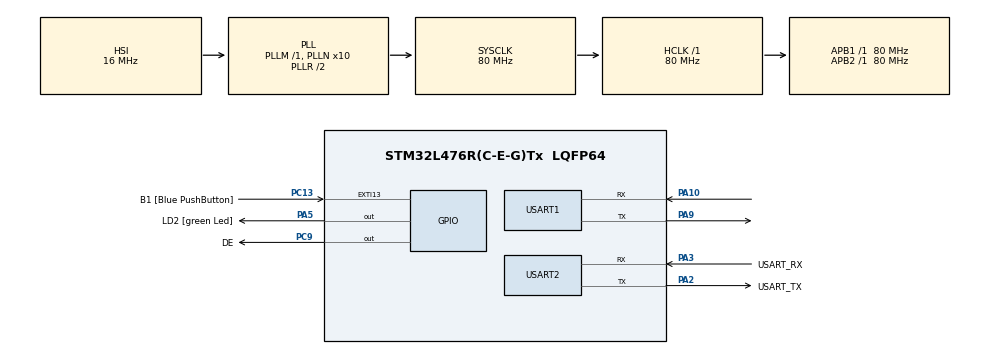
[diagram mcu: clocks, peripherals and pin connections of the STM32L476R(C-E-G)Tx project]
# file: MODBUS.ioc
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Mcu.Family=STM32L4
Mcu.Name=STM32L476R(C-E-G)Tx
Mcu.Package=LQFP64
NVIC.PriorityGroup=NVIC_PRIORITYGROUP_4
NVIC.USART1_IRQn=true\:0\:0\:false\:false\:true\:true\:true\:true
PA10.Mode=Asynchronous
PA10.Signal=USART1_RX
PA13\ (JTMS-SWDIO).GPIO_Label=TMS
PA13\ (JTMS-SWDIO).Mode=Serial_Wire
PA13\ (JTMS-SWDIO).Signal=SYS_JTMS-SWDIO
PA14\ (JTCK-SWCLK).GPIO_Label=TCK
PA14\ (JTCK-SWCLK).Mode=Serial_Wire
PA14\ (JTCK-SWCLK).Signal=SYS_JTCK-SWCLK
PA2.GPIO_Label=USART_TX
PA2.GPIO_Mode=GPIO_MODE_AF_PP
PA2.GPIO_PuPd=GPIO_NOPULL
PA2.GPIO_Speed=GPIO_SPEED_FREQ_VERY_HIGH
PA2.Mode=Asynchronous
PA2.Signal=USART2_TX
PA3.GPIO_Label=USART_RX
PA3.GPIO_Mode=GPIO_MODE_AF_PP
PA3.GPIO_PuPd=GPIO_NOPULL
PA3.GPIO_Speed=GPIO_SPEED_FREQ_VERY_HIGH
PA3.Mode=Asynchronous
PA3.Signal=USART2_RX
PA5.GPIO_Label=LD2 [green Led]
PA5.GPIO_ModeDefaultOutputPP=GPIO_MODE_OUTPUT_PP
PA5.GPIO_PuPd=GPIO_NOPULL
PA5.GPIO_Speed=GPIO_SPEED_FREQ_LOW
PA5.Signal=GPIO_Output
PA9.Mode=Asynchronous
PA9.Signal=USART1_TX
PB3\ (JTDO-TRACESWO).GPIO_Label=SWO
PB3\ (JTDO-TRACESWO).Signal=SYS_JTDO-SWO
PC13.GPIO_Label=B1 [Blue PushButton]
PC13.GPIO_ModeDefaultEXTI=GPIO_MODE_IT_FALLING
PC13.GPIO_PuPd=GPIO_NOPULL
PC13.Signal=GPXTI13
PC14-OSC32_IN\ (PC14).Mode=LSE-External-Oscillator
PC14-OSC32_IN\ (PC14).Signal=RCC_OSC32_IN
PC15-OSC32_OUT\ (PC15).Mode=LSE-External-Oscillator
PC15-OSC32_OUT\ (PC15).Signal=RCC_OSC32_OUT
PC9.GPIO_Label=DE
PC9.Signal=GPIO_Output
PH0-OSC_IN\ (PH0).Signal=RCC_OSC_IN
PH1-OSC_OUT\ (PH1).Signal=RCC_OSC_OUT
ProjectManager.HeapSize=0x200
ProjectManager.StackSize=0x400
ProjectManager.TargetToolchain=STM32CubeIDE
RCC.ADCFreq_Value=64000000
RCC.AHBFreq_Value=80000000
RCC.APB1Freq_Value=80000000
RCC.APB1TimFreq_Value=80000000
RCC.APB2Freq_Value=80000000
RCC.APB2TimFreq_Value=80000000
RCC.CortexFreq_Value=80000000
RCC.HCLKFreq_Value=80000000
RCC.HSE_VALUE=8000000
RCC.HSI_VALUE=16000000
RCC.MSI_VALUE=4000000
RCC.PLLN=10
RCC.PLLSourceVirtual=RCC_PLLSOURCE_HSI
RCC.PREFETCH_ENABLE=1
RCC.SYSCLKFreq_VALUE=80000000
RCC.SYSCLKSource=RCC_SYSCLKSOURCE_PLLCLK
RCC.USBFreq_Value=64000000
RCC.VCOOutputFreq_Value=160000000
USART1.VirtualMode-Asynchronous=VM_ASYNC
USART2.VirtualMode-Asynchronous=VM_ASYNC
board=NUCLEO-L476RG

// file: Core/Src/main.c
/* USER CODE BEGIN Header */
/**
  ******************************************************************************
  * @file           : main.c
  * @brief          : Main program body
  ******************************************************************************
  * @attention
  *
  * Copyright (c) 2024 STMicroelectronics.
  * All rights reserved.
  *
  * This software is licensed under terms that can be found in the LICENSE file
  * in the root directory of this software component.
  * If no LICENSE file comes with this software, it is provided AS-IS.
  *
  ******************************************************************************
  */
/* USER CODE END Header */
#include "main.h"
#include "usart.h"
#include "gpio.h"

/* USER CODE BEGIN Includes */
/* ************************************************************************************ */
/* * Includes                                                                         * */
/* ************************************************************************************ */
/* CeNTI library. */
#include "../../Project/CeNTI_Library/lib/CeNTI_lib_includes.h"
#include "../../Project/CeNTI_Library/HAL/CeNTI_HAL_includes.h"

/* Project defines. */
#include "../../Project/Defines/Project_defines.h"

/* Manager library. */
#include "../../Project/Manager/Manager.h"

#if (!defined(__MAIN_DEBUG__))
    #include "../../Project/CeNTI_Library/lib/Debug/CeNTI_Debug_None.h"
#endif

/* ************************************************************************************ */
/* * Safety check                                                                     * */
/* ************************************************************************************ */
#if ((!(defined(CENTI_ENABLE))) || \
     (!(defined(CENTI_DISABLE))))

    #error CENTI_ENABLE and/or CENTI_DISABLE not defined! Define the in Project/CeNTI/Defines/CeNTI_defines.h file!

#endif

/* USER CODE END Includes */

/* USER CODE BEGIN PTD */
/* ************************************************************************************ */
/* * Flags                                                                            * */
/* ************************************************************************************ */
/* Used for software reset. */
volatile t_FLAG f_soft_reset = FLAG_OFF;

/* ************************************************************************************ */
/* * Enumerations                                                                     * */
/* ************************************************************************************ */
/* Main states. */
typedef enum _enum_MAIN_states {
    MAIN_STATE_INIT_ERROR = 0   ,
    MAIN_STATE_INIT             ,
    MAIN_STATE_LOOP_ERROR       ,
    MAIN_STATE_LOOP             ,
    /* Add more states. */
    /* ... */
}et_MAIN_STATE;
/* USER CODE END PTD */

/* USER CODE BEGIN PD */
#ifdef __GNUC__
#define PUTCHAR_PROTOTYPE int __io_putchar(int ch)
#else
#define PUTCHAR_PROTOTYPE int fputc(int ch, FILE *f)
#endif
/* USER CODE END PD */

/* USER CODE BEGIN PV */
/* ************************************************************************************ */
/* * Global Variables                                                                 * */
/* ************************************************************************************ */
/* Main state. */
static et_MAIN_STATE g_et_state = MAIN_STATE_INIT;

/* USER CODE END PV */

void SystemClock_Config(void);
/* USER CODE BEGIN PFP */
/* ************************************************************************************ */
/* * Main Functions Prototypes                                                        * */
/* ************************************************************************************ */
/*
 * @brief Initialize all the necessary peripheral and CeNTI devices.
 *
 * @param None.
 *
 * @return Indication if everything worked fine.
 * @retval RET_OK  - Everything worked fine.
 * @retval Other   - See et_RET.
 */
static et_RET Main__Initialize(void);

/*
 * @brief Function used to manage the loop flow.
 *
 * @param None.
 *
 * @return Indication if everything worked fine.
 * @retval RET_OK  - Everything worked fine.
 * @retval Other   - See et_RET.
 */
static et_RET Main__Loop(void);

/*
 * @brief Function used to check all the SoftTimers and enable its flag if its SoftTimer
 *          has elapsed.
 *
 * @param None.
 *
 * @return Indication if everything worked fine.
 * @retval RET_OK  - Everything worked fine.
 * @retval Other   - See et_RET.
 */
#if (defined(__CENTI_SOFTTIMER_IN_USE__))
    static void Main__CheckSoftTimers(void);
#endif

/* ************************************************************************************ */
/* * Private Functions Prototypes                                                     * */
/* ************************************************************************************ */
/*
 * @brief Function used to call the system device initialization function based on
 *          defines made on CeNTI/Defines/CeNTI.h file.
 *
 * @param None.
 *
 * @return Indication if everything worked fine.
 * @retval RET_OK  - Everything worked fine.
 * @retval Other   - See et_RET.
 */
static void Main__InitializeDevice(void);

/* USER CODE END PFP */

/* USER CODE BEGIN 0 */
PUTCHAR_PROTOTYPE
{
  HAL_UART_Transmit(&huart2, (uint8_t *)&ch, 1, HAL_MAX_DELAY);
  return ch;
}
/* USER CODE END 0 */

int main(void)
{

  /* MCU Configuration--------------------------------------------------------*/

  /* Reset of all peripherals, Initializes the Flash interface and the Systick. */
  HAL_Init();

  /* USER CODE BEGIN Init */
  et_RET et_ret = RET_UNEXPECTED;

  /* Set initial state. */
  g_et_state = MAIN_STATE_INIT;
  /* USER CODE END Init */

  /* Configure the system clock */
  SystemClock_Config();

  /* Initialize all configured peripherals */
  MX_GPIO_Init();
  MX_USART2_UART_Init();
  MX_USART1_UART_Init();

  /* Infinite loop */
  /* USER CODE BEGIN WHILE */
  while (1)
  {
	  switch (g_et_state)
	  {
		  /* ********** Initialization error **************************************** */

		  case MAIN_STATE_INIT_ERROR:

			  CENTI_DEBUG__Error("Main - Initialization failed!");
			  CENTI_DEBUG__Info("Main - Entering an infinite loop...");

			  /* Add code to handle the initialization error. */
			  // ...

			  while (1)
			  {
				  /* Stay here. */
			  }

			  break;

		  /* ************************************************************************ */
		  /* ********** Initialization ********************************************** */

		  case MAIN_STATE_INIT:

			  /* Initialize device. */
			  et_ret = Main__Initialize();

			  /* Add code if needed. */
			  // ...

			  /* If initialization was successfully complete, then go to loop state.
			   * Otherwise, go to initialization error state. */
			  if (et_ret < RET_OK)
			  {
				  g_et_state = MAIN_STATE_INIT_ERROR;
				  break;
			  }

			  g_et_state = MAIN_STATE_LOOP;

			  break;

		  /* ************************************************************************ */
		  /* ********** Loop Error ************************************************** */

		  case MAIN_STATE_LOOP_ERROR:

			  CENTI_DEBUG__Error("Main - Loop failed!");

			  /* Add code to handle with a loop error. */
			  // ...

			  g_et_state = MAIN_STATE_LOOP;

		  /* ************************************************************************ */
		  /* ********** Loop ******************************************************** */

		  case MAIN_STATE_LOOP:

			  /* Go to initialization state to perform a soft reset. */
			  if (FLAG_ON == f_soft_reset)
			  {
				  f_soft_reset = FLAG_OFF;

				  CENTI_DEBUG__Warning("\n\nSoftReset!\n");

				  g_et_state = MAIN_STATE_INIT;

				  break;
			  }

			  /* Main Loop. */
			  et_ret = Main__Loop();
			  /* Check for any error. */
			  if (et_ret < RET_OK)
			  {
				  g_et_state = MAIN_STATE_LOOP_ERROR;

				  break;
			  }

			  /* Add code if needed. */
			  // ...

			  break;

		  /* ************************************************************************ */
		  /* ********** Default ***************************************************** */

		  default:

			  /* Reinitialize. */
			  g_et_state = MAIN_STATE_INIT;

			  break;

		  /* ************************************************************************ */
	  }
    /* USER CODE END WHILE */

  }
}

void SystemClock_Config(void)
{
  RCC_OscInitTypeDef RCC_OscInitStruct = {0};
  RCC_ClkInitTypeDef RCC_ClkInitStruct = {0};

  /** Configure the main internal regulator output voltage
  */
  if (HAL_PWREx_ControlVoltageScaling(PWR_REGULATOR_VOLTAGE_SCALE1) != HAL_OK)
  {
    Error_Handler();
  }

  /** Initializes the RCC Oscillators according to the specified parameters
  * in the RCC_OscInitTypeDef structure.
  */
  RCC_OscInitStruct.OscillatorType = RCC_OSCILLATORTYPE_HSI;
  RCC_OscInitStruct.HSIState = RCC_HSI_ON;
  RCC_OscInitStruct.HSICalibrationValue = RCC_HSICALIBRATION_DEFAULT;
  RCC_OscInitStruct.PLL.PLLState = RCC_PLL_ON;
  RCC_OscInitStruct.PLL.PLLSource = RCC_PLLSOURCE_HSI;
  RCC_OscInitStruct.PLL.PLLM = 1;
  RCC_OscInitStruct.PLL.PLLN = 10;
  RCC_OscInitStruct.PLL.PLLP = RCC_PLLP_DIV7;
  RCC_OscInitStruct.PLL.PLLQ = RCC_PLLQ_DIV2;
  RCC_OscInitStruct.PLL.PLLR = RCC_PLLR_DIV2;
  if (HAL_RCC_OscConfig(&RCC_OscInitStruct) != HAL_OK)
  {
    Error_Handler();
  }

  /** Initializes the CPU, AHB and APB buses clocks
  */
  RCC_ClkInitStruct.ClockType = RCC_CLOCKTYPE_HCLK|RCC_CLOCKTYPE_SYSCLK
                              |RCC_CLOCKTYPE_PCLK1|RCC_CLOCKTYPE_PCLK2;
  RCC_ClkInitStruct.SYSCLKSource = RCC_SYSCLKSOURCE_PLLCLK;
  RCC_ClkInitStruct.AHBCLKDivider = RCC_SYSCLK_DIV1;
  RCC_ClkInitStruct.APB1CLKDivider = RCC_HCLK_DIV1;
  RCC_ClkInitStruct.APB2CLKDivider = RCC_HCLK_DIV1;

  if (HAL_RCC_ClockConfig(&RCC_ClkInitStruct, FLASH_LATENCY_4) != HAL_OK)
  {
    Error_Handler();
  }
}

/* USER CODE BEGIN 4 */

static et_RET Main__Initialize(void)
{
    et_RET et_ret      = RET_UNEXPECTED;
    int8_t num_retries = NUM_RETRIES;

    /* Initialize device. */
    Main__InitializeDevice();

    CENTI_DEBUG__Info("Main - Initialization Started!");

    /* Initialize SoftTimer. */
    #if (defined(__CENTI_SOFTTIMER_IN_USE__))

        et_ret = SoftTimer__Initialize();
        CENTI_CHECK_RET(et_ret);

        /* Wait some time before initialize devices. */
        et_ret = SoftTimer__Delay_msec(DELAY_INIT_MS);
        CENTI_CHECK_RET(et_ret);

        CENTI_DEBUG__Info("SoftTimer - Initialization complete!");

    #endif

    do
    {
        /* Initialize Manager. */
        et_ret = Manager__Initialize();

        /* Check return. */
        if (et_ret < RET_OK)
        {
            /* Delay between retries. */
            #if (defined(__CENTI_SOFTTIMER_IN_USE__))
                SoftTimer__Delay_msec(DELAY_RETRY_MS);
            #endif

            /* Reduce the number of tries. */
            --num_retries;
        }
    }
    while ((et_ret < RET_OK)    &&
           (num_retries > 0)    );

    /* Check if return is not RET_OK. */
    CENTI_CHECK_RET(et_ret);

    CENTI_DEBUG__Info("Main - Initialization complete!");

    return RET_OK;
}

static et_RET Main__Loop(void)
{
    et_RET et_ret = RET_UNEXPECTED;

    /* Check if any SoftTimer has occurred. */
    #if (defined(__CENTI_SOFTTIMER_IN_USE__))
        Main__CheckSoftTimers();
    #endif

    /* Perform the manager loop. */
    et_ret = Manager__Loop();
    CENTI_CHECK_RET(et_ret);

    /* Add code if needed. */
    // ...

    return RET_OK;
}

#if (defined(__CENTI_SOFTTIMER_IN_USE__))

    static void Main__CheckSoftTimers(void)
    {
        /* Add flags checks here. */
        for (uint8_t i=0; i<FLAGS_TOTAL; i++)
        {
            if (SOFTTIMER_ELAPSED_STATE_ELAPSED ==
                SoftTimer__Get_ElapsedState(ET_FLAG_SOFTTIMER_INSTANCES[i]))
            {
                *FLAGS[i] = FLAG_ON;
            }
        }
    }

#endif

/* ************************************************************************************ */
/* * Private Functions                                                                * */
/* ************************************************************************************ */
static void Main__InitializeDevice(void)
{
    #if (defined(__CENTI_CODE_CONFIGURATOR_MCC__))

        /* Initialize the device. */
        SYSTEM_Initialize();

        #if (CENTI_ENABLE_INTERRUPTS == CENTI_ENABLE)

            /* Enable global interrupts. */
            INTERRUPT_GlobalInterruptEnable();

        #else /* PROJECT_INTERRUPTS with wrong value. */

            /* Do nothing. */

        #endif /* PROJECT_INTERRUPTS */

	#elif (defined(__CENTI_CODE_CONFIGURATOR_MELODY__))

		/* Initialize the device. */
        SYSTEM_Initialize();

        #if (CENTI_ENABLE_INTERRUPTS == CENTI_ENABLE)

            /* Enable global interrupts. */
            INTERRUPT_GlobalInterruptEnable();

        #else

            /* Do nothing. */

        #endif

    #elif (defined(__CENTI_CODE_CONFIGURATOR_ATMEL_START__))

        /* Initialize the device. */
        atmel_start_init();

        #if (CENTI_ENABLE_INTERRUPTS == CENTI_ENABLE)

            /* Enable global interrupts. */
            ENABLE_INTERRUPTS();

        #else /* PROJECT_INTERRUPTS with wrong value. */

            /* Do nothing. */

        #endif /* PROJECT_INTERRUPTS */

    #elif (defined(__CENTI_CODE_CONFIGURATOR_HARMONY__))

		/* Initialize the device. */
		SYS_Initialize(NULL);

    #endif /* CENTI_CODE_CONFIGURATOR */
}

#if (defined(__CENTI_CODE_CONFIGURATOR_CUBEMX__))
    void HAL_UART_RxCpltCallback(UART_HandleTypeDef *huart)
    {
        #if (defined(__CENTI_UART_0_RINGBUFFER__))
            if (huart->Instance == USART0)
            {
                UART_0_RingBuffer__Rx_Cb(UART_HandleTypeDef *huart)
            }
        #endif
        #if (defined(__CENTI_UART_1_RINGBUFFER__))
            if (huart->Instance == USART1)
            {
                UART_1_RingBuffer__Rx_Cb(huart);
            }
        #endif
        #if (defined(__CENTI_UART_2_RINGBUFFER__))
            if (huart->Instance == USART2)
            {
                UART_2_RingBuffer__Rx_Cb(UART_HandleTypeDef *huart)
            }
        #endif
        #if (defined(__CENTI_UART_3_RINGBUFFER__))
            if (huart->Instance == USART3)
            {
                UART_3_RingBuffer__Rx_Cb(UART_HandleTypeDef *huart)
            }
        #endif
        #if (defined(__CENTI_UART_4_RINGBUFFER__))
            if (huart->Instance == USART4)
            {
                UART_4_RingBuffer__Rx_Cb(UART_HandleTypeDef *huart)
            }
        #endif
        #if (defined(__CENTI_UART_5_RINGBUFFER__))
            if (huart->Instance == USART5)
            {
                UART_5_RingBuffer__Rx_Cb(UART_HandleTypeDef *huart)
            }
        #endif
        #if (defined(__CENTI_UART_6_RINGBUFFER__))
            if (huart->Instance == USART6)
            {
                UART_6_RingBuffer__Rx_Cb(UART_HandleTypeDef *huart)
            }
        #endif
        #if (defined(__CENTI_UART_7_RINGBUFFER__))
            if (huart->Instance == USART7)
            {
                UART_7_RingBuffer__Rx_Cb(UART_HandleTypeDef *huart)
            }
        #endif
    }

    void HAL_UART_TxCpltCallback(UART_HandleTypeDef *huart)
    {
        #if (defined(__CENTI_UART_0_RINGBUFFER__))
            if (huart->Instance == USART0)
            {
                UART_0_RingBuffer__Tx_Cb(UART_HandleTypeDef *huart)
            }
        #endif
        #if (defined(__CENTI_UART_1_RINGBUFFER__))
            if (huart->Instance == USART1)
            {
                UART_1_RingBuffer__Tx_Cb(huart);
            }
        #endif
        #if (defined(__CENTI_UART_2_RINGBUFFER__))
            if (huart->Instance == USART2)
            {
                UART_2_RingBuffer__Tx_Cb(UART_HandleTypeDef *huart)
            }
        #endif
        #if (defined(__CENTI_UART_3_RINGBUFFER__))
            if (huart->Instance == USART3)
            {
                UART_3_RingBuffer__Tx_Cb(UART_HandleTypeDef *huart)
            }
        #endif
        #if (defined(__CENTI_UART_4_RINGBUFFER__))
            if (huart->Instance == USART4)
            {
                UART_4_RingBuffer__Tx_Cb(UART_HandleTypeDef *huart)
            }
        #endif
        #if (defined(__CENTI_UART_5_RINGBUFFER__))
            if (huart->Instance == USART5)
            {
                UART_5_RingBuffer__Tx_Cb(UART_HandleTypeDef *huart)
            }
        #endif
        #if (defined(__CENTI_UART_6_RINGBUFFER__))
            if (huart->Instance == USART6)
            {
                UART_6_RingBuffer__Tx_Cb(UART_HandleTypeDef *huart)
            }
        #endif
        #if (defined(__CENTI_UART_7_RINGBUFFER__))
            if (huart->Instance == USART7)
            {
                UART_7_RingBuffer__Tx_Cb(UART_HandleTypeDef *huart)
            }
        #endif
    }
#endif
/* USER CODE END 4 */

void Error_Handler(void)
{
  __disable_irq();
  while (1)
  {
  }
}
